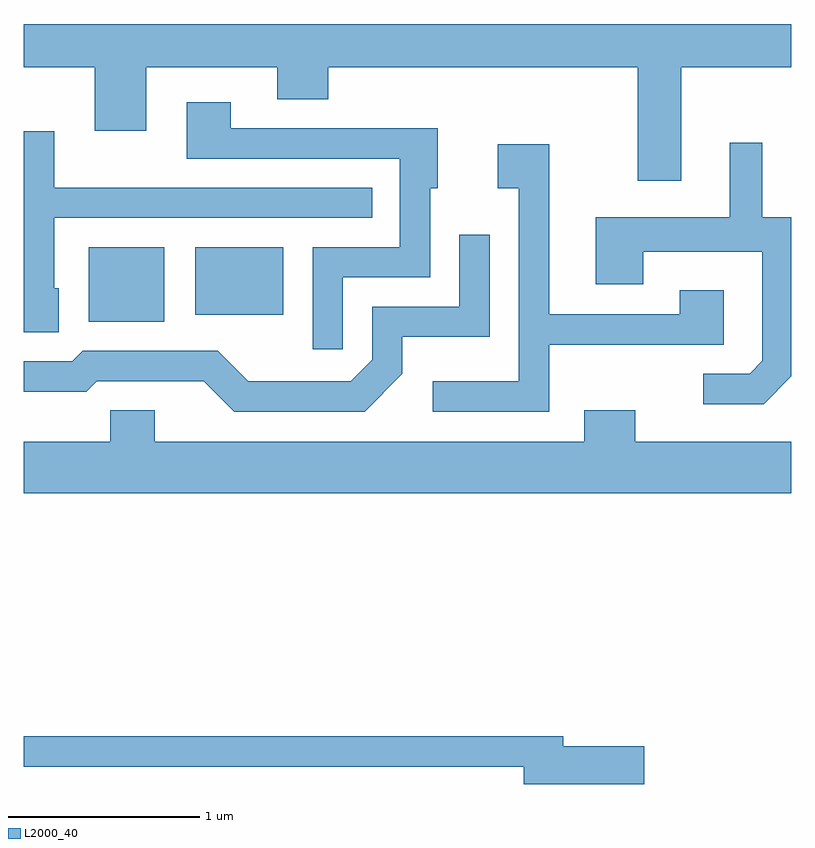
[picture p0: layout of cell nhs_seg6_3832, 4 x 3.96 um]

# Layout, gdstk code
import gdstk
lib = gdstk.Library(unit=1e-6, precision=1e-09)
def R(c, l, rs):  # rectangles x0, y0, x1, y1
    for r in rs: c.add(gdstk.rectangle(r[:2], r[2:], *l))
def P(c, l, *ps):  # polygons
    for p in ps: c.add(gdstk.Polygon(p, *l))
L2000_40 = (2000, 40)

nhs_seg6_3832 = lib.new_cell('nhs_seg6_3832')
R(nhs_seg6_3832, L2000_40, [(299.951,1648.611,300.344,1648.999), (300.506,1648.646,300.964,1648.999)])
P(nhs_seg6_3832, L2000_40, [(303.039,1649.936),(303.611,1649.936),(303.611,1650.162),(299.611,1650.162),(299.611,1649.936),(299.981,1649.936),(299.981,1649.606),(300.249,1649.606),(300.249,1649.936),(300.931,1649.936),(300.931,1649.771),(301.199,1649.771),(301.199,1649.936),(302.811,1649.936),(302.811,1649.346),(303.039,1649.346)],
  [(301.274,1648.841),(301.729,1648.841),(301.729,1649.306),(301.769,1649.306),(301.769,1649.619),(300.689,1649.619),(300.689,1649.754),(300.461,1649.754),(300.461,1649.461),(301.571,1649.461),(301.571,1648.999),(301.116,1648.999),(301.116,1648.468),(301.274,1648.468)],
  [(299.794,1648.784),(299.769,1648.784),(299.769,1649.151),(301.428,1649.151),(301.428,1649.309),(299.769,1649.309),(299.769,1649.604),(299.611,1649.604),(299.611,1648.556),(299.794,1648.556)],
  [(303.611,1648.326),(303.611,1649.154),(303.459,1649.154),(303.459,1649.543),(303.291,1649.543),(303.291,1649.154),(302.591,1649.154),(302.591,1648.806),(302.839,1648.806),(302.839,1648.976),(303.461,1648.976),(303.461,1648.407),(303.394,1648.339),(303.153,1648.339),(303.153,1648.181),(303.467,1648.181)],
  [(302.349,1648.491),(303.259,1648.491),(303.259,1648.774),(303.031,1648.774),(303.031,1648.649),(302.349,1648.649),(302.349,1649.534),(302.081,1649.534),(302.081,1649.306),(302.191,1649.306),(302.191,1648.299),(301.743,1648.299),(301.743,1648.141),(302.349,1648.141)],
  [(301.584,1648.339),(301.584,1648.531),(302.039,1648.531),(302.039,1649.063),(301.881,1649.063),(301.881,1648.689),(301.426,1648.689),(301.426,1648.412),(301.314,1648.299),(300.782,1648.299),(300.622,1648.459),(299.919,1648.459),(299.864,1648.404),(299.611,1648.404),(299.611,1648.246),(299.937,1648.246),(299.992,1648.301),(300.549,1648.301),(300.709,1648.141),(301.387,1648.141)],
  [(303.611,1647.984),(302.799,1647.984),(302.799,1648.149),(302.531,1648.149),(302.531,1647.984),(300.294,1647.984),(300.294,1648.149),(300.061,1648.149),(300.061,1647.984),(299.611,1647.984),(299.611,1647.716),(303.611,1647.716)],
  [(302.844,1646.399),(302.424,1646.399),(302.424,1646.449),(299.611,1646.449),(299.611,1646.291),(302.216,1646.291),(302.216,1646.201),(302.844,1646.201)])

lib.write_gds('nhs_seg6_3832.gds')
